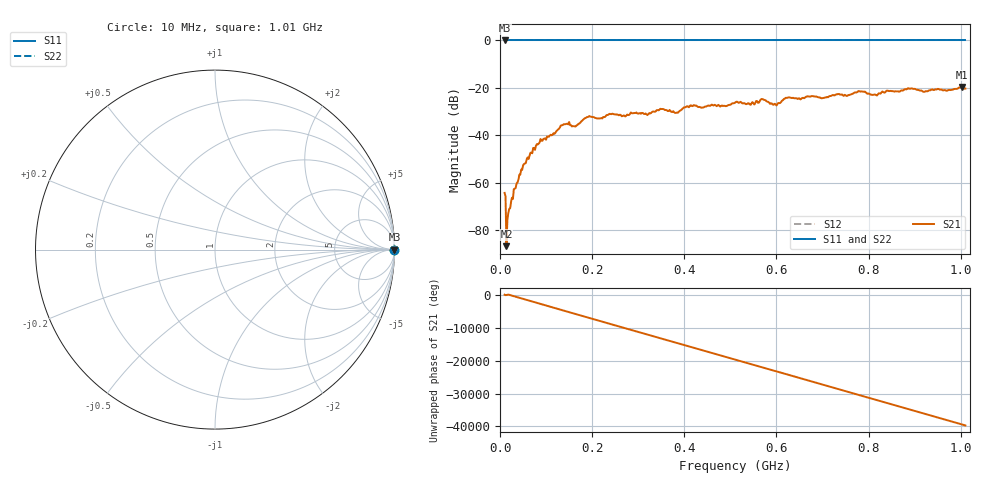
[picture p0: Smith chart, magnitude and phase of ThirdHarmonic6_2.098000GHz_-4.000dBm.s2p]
! 8/17/2025 1:06:03 AM
! C:\ANRITSUVNA\TEMP\TEMP.S2P
! CHANNEL.1
! TR.MEASUREMENT
! RAW.DATA
! RF.CORRECTION.OFF
! AVERAGING.OFF
! IF.BANDWIDTH: 5KHZ
! SWEEPTYPE:  FREQ.SWEEP(Linear)
! Reference Plane Port Info
! PORT:  PORT1  PORT2
! DISTANCE:  0  m  0  m
! TIME:  0  s  0  s
! PHASE.OFFSET:  0  deg.  0  deg.
! LOSS:  0  dB  0  dB
! REF.LOSS:  0  dB  0  dB
! REF.FREQ:  0  Hz  0  Hz
! Power Info
! POWER:  -20  dBm  -20  dBm
! EFF.POWER:  -20  dBm  -20  dBm
! SOURCE.ATTEN:  0  dB  0  dB
! TEST.ATTEN:  0  dB  0  dB
# GHZ S RI R 50.0
! FREQ.GHZ  S11RE  S11IM  S21RE  S21IM  S12RE  S12IM  S22RE  S22IM
!; PortSelection: Port_12
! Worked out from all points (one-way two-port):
!   501 points, 10 MHz to 1.01 GHz, reference 50 ohm
!   highest |S21| = -19.64 dB at 1.002 GHz (marker M1); lowest = -86.6 dB at 14 MHz (marker M2)
!   lowest |S11| = 0.0 dB at 10 MHz (marker M3)
!   |S11| at or under -10 dB: nowhere
!   |S22| runs from 0.0 to 0.0 dB; largest |S21 - S12| = 1.1
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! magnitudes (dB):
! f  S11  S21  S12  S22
! 10 MHz  0.0  -64.2  0.0  0.0
! 14 MHz  0.0  -86.6  0.0  0.0
! 18 MHz  0.0  -72.7  0.0  0.0
! 28 MHz  0.0  -66.8  0.0  0.0
! 46 MHz  0.0  -54.3  0.0  0.0
! 84 MHz  0.0  -43.4  0.0  0.0
! 136 MHz  0.0  -35.6  0.0  0.0
! 162 MHz  0.0  -36.1  0.0  0.0
! 178 MHz  0.0  -33.8  0.0  0.0
! 192 MHz  0.0  -32.1  0.0  0.0
! 322 MHz  0.0  -30.9  0.0  0.0
! 344 MHz  0.0  -29.4  0.0  0.0
! 384 MHz  0.0  -30.4  0.0  0.0
! 416 MHz  0.0  -27.5  0.0  0.0
! 510 MHz  0.0  -26.2  0.0  0.0
! 570 MHz  0.0  -24.7  0.0  0.0
! 596 MHz  0.0  -26.7  0.0  0.0
! 624 MHz  0.0  -24.2  0.0  0.0
! 678 MHz  0.0  -23.4  0.0  0.0
! 844 MHz  0.0  -21.3  0.0  0.0
! 1.002 GHz  0.0  -19.6  0.0  0.0
! 1.01 GHz  0.0  -20.2  0.0  0.0
